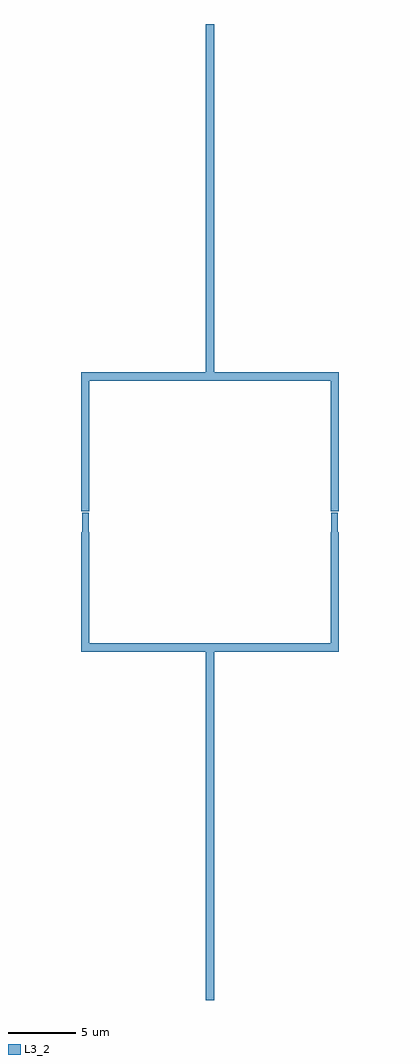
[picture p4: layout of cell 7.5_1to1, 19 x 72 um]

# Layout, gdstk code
import gdstk
lib = gdstk.Library(unit=1e-6, precision=1e-09)
def R(c, l, rs):  # rectangles x0, y0, x1, y1
    for r in rs: c.add(gdstk.rectangle(r[:2], r[2:], *l))
L3_2 = (3, 2)

c_7_5_1to1 = lib.new_cell('7.5_1to1')
R(c_7_5_1to1, L3_2, [(-0.3,-36,0.3,-10.3), (-9.5,-10.3,9.5,-9.7), (-9.5,-9.7,-8.9,-1.5), (8.9,-9.7,9.5,-1.5), (-9.44,-1.5,-8.96,-0.065), (8.96,-1.5,9.44,-0.065), (-9.49,0.065,-8.91,1.5), (8.91,0.065,9.49,1.5), (-9.5,1.5,-8.9,9.7), (8.9,1.5,9.5,9.7), (-9.5,9.7,9.5,10.3), (-0.3,10.3,0.3,36)])

lib.write_gds('7.5_1to1.gds')
